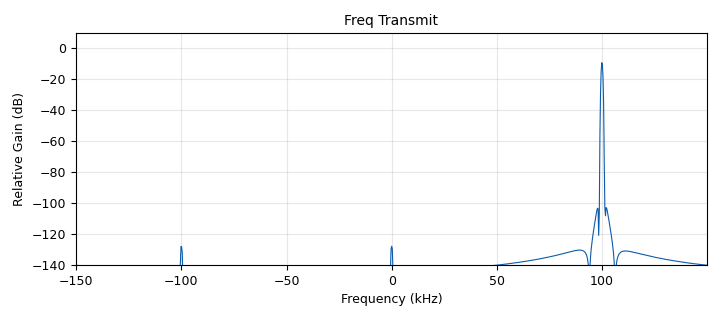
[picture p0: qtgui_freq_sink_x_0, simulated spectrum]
options:
  parameters:
    generate_options: qt_gui
    id: simple_transmitter
    output_language: python
    title: Not titled yet
  states: {}

blocks:
- name: freq_wave
  id: variable
  parameters:
    value: 2.49e9
  states: {}
- name: samp_rate
  id: variable
  parameters:
    value: 300e3
  states: {}
- name: t_gain
  id: variable_qtgui_range
  parameters:
    label: Transmitter Gain
    start: '0'
    step: '1'
    stop: '60'
    value: '60'
  states: {}
- name: analog_const_source_x_0
  id: analog_const_source_x
  parameters:
    const: '1'
    type: complex
  states: {state: disabled}
- name: analog_sig_source_x_0
  id: analog_sig_source_x
  parameters:
    amp: '1'
    freq: 100e3
    offset: '0'
    phase: '0'
    samp_rate: samp_rate
    type: complex
    waveform: analog.GR_COS_WAVE
  states: {}
- name: qtgui_freq_sink_x_0
  id: qtgui_freq_sink_x
  parameters:
    bw: samp_rate
    fc: '0'
    fftsize: '1024'
    name: '"Freq Transmit"'
    type: complex
  states: {}
- name: uhd_usrp_sink_0
  id: uhd_usrp_sink
  parameters:
    ant0: '"TX/RX"'
    center_freq0: freq_wave
    gain0: t_gain
    samp_rate: samp_rate
    sync: sync
    type: fc32
  states: {}

connections:
- [analog_const_source_x_0, '0', qtgui_freq_sink_x_0, '0']
- [analog_const_source_x_0, '0', uhd_usrp_sink_0, '0']
- [analog_sig_source_x_0, '0', qtgui_freq_sink_x_0, '0']
- [analog_sig_source_x_0, '0', uhd_usrp_sink_0, '0']

metadata:
  file_format: 1
  grc_version: 3.10.9.2
